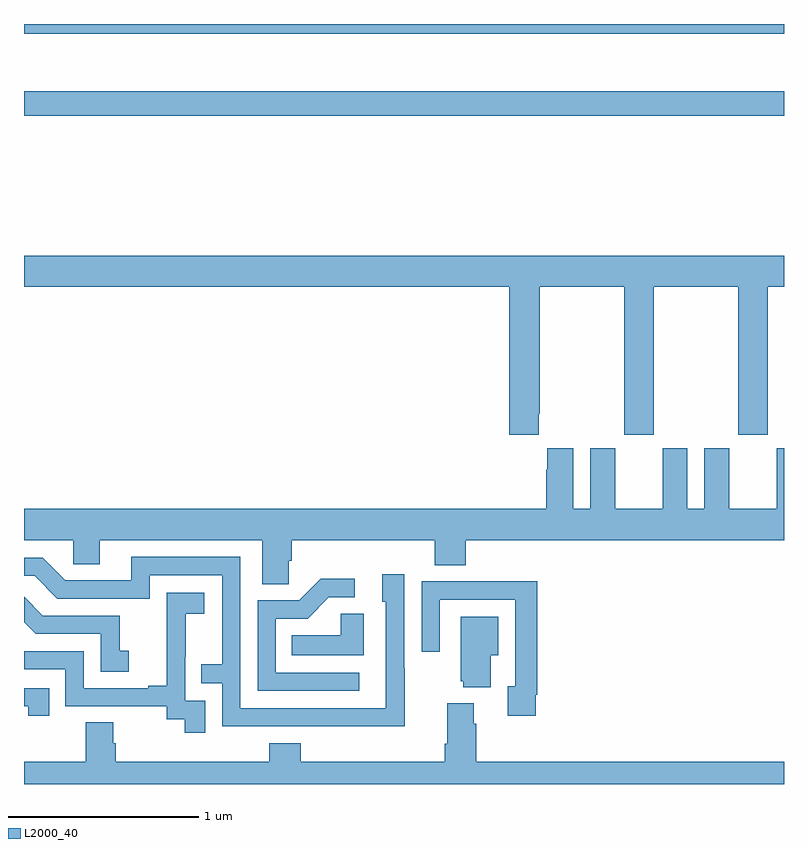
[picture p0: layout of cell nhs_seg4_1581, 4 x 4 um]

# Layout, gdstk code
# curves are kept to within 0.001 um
import gdstk
lib = gdstk.Library(unit=1e-6, precision=1e-09)
def R(c, l, rs):  # rectangles x0, y0, x1, y1
    for r in rs: c.add(gdstk.rectangle(r[:2], r[2:], *l))
def P(c, l, *ps):  # polygons
    for p in ps: c.add(gdstk.Polygon(p, *l))
L2000_40 = (2000, 40)

nhs_seg4_1581 = lib.new_cell('nhs_seg4_1581')
R(nhs_seg4_1581, L2000_40, [(193,768.418,197,768.547), (193,768.848,197,768.9)])
P(nhs_seg4_1581, L2000_40, [(195.709,766.849),(195.714,766.849),(195.714,767.516),(196.159,767.516),(196.159,766.737),(196.314,766.737),(196.314,767.516),(196.759,767.516),(196.759,766.737),(196.914,766.737),(196.914,767.516),(197,767.516),(197,767.68),(193,767.68),(193,767.516),(195.554,767.516),(195.554,766.737),(195.709,766.737)],
  [(193,766.184),(193.26,766.184),(193.26,766.057),(193.399,766.057),(193.399,766.184),(194.255,766.184),(194.255,765.952),(194.394,765.952),(194.394,766.075),(194.408,766.075),(194.408,766.184),(195.161,766.184),(195.161,766.051),(195.326,766.051),(195.326,766.184),(197,766.184),(197,766.666),(196.961,766.666),(196.961,766.348),(196.711,766.348),(196.711,766.666),(196.58,766.666),(196.58,766.348),(196.492,766.348),(196.492,766.666),(196.361,766.666),(196.361,766.348),(196.111,766.348),(196.111,766.666),(195.98,766.666),(195.98,766.348),(195.892,766.348),(195.892,766.666),(195.755,766.666),(195.755,766.553),(195.749,766.553),(195.749,766.348),(193,766.348)],
  [(195.003,765.509),(195,765.509),(195,766.003),(194.885,766.003),(194.885,765.858),(194.904,765.858),(194.904,765.3),(194.139,765.3),(194.139,766.095),(193.565,766.095),(193.565,765.972),(193.218,765.972),(193.098,766.092),(193,766.092),(193,765.996),(193.056,765.996),(193.176,765.876),(193.662,765.876),(193.662,765.999),(194.043,765.999),(194.043,765.53),(193.933,765.53),(193.933,765.429),(194.043,765.429),(194.043,765.204),(195.003,765.203)],
  [(194.764,765.486),(194.325,765.486),(194.325,765.771),(194.494,765.771),(194.605,765.882),(194.74,765.882),(194.74,765.98),(194.561,765.98),(194.448,765.867),(194.229,765.867),(194.229,765.39),(194.764,765.39)],
  [(195.694,765.37),(195.701,765.37),(195.701,765.968),(195.409,765.968),(195.409,765.966),(195.093,765.966),(195.093,765.597),(195.189,765.597),(195.189,765.87),(195.585,765.87),(195.585,765.414),(195.545,765.414),(195.545,765.258),(195.694,765.258)],
  [(193.953,765.339),(193.848,765.339),(193.848,765.569),(193.85,765.569),(193.85,765.797),(193.948,765.797),(193.948,765.907),(193.75,765.907),(193.75,765.701),(193.751,765.701),(193.751,765.418),(193.655,765.418),(193.655,765.405),(193.314,765.405),(193.314,765.6),(193,765.6),(193,765.504),(193.218,765.504),(193.218,765.309),(193.752,765.309),(193.752,765.241),(193.845,765.241),(193.845,765.171),(193.953,765.171)],
  [(193.552,765.601),(193.503,765.601),(193.503,765.786),(193.099,765.786),(193,765.885),(193,765.752),(193.062,765.69),(193.404,765.69),(193.404,765.492),(193.552,765.492)],
  [(194.788,765.797),(194.667,765.797),(194.667,765.682),(194.41,765.682),(194.41,765.578),(194.788,765.578)],
  [(195.457,765.578),(195.496,765.578),(195.496,765.781),(195.299,765.781),(195.299,765.441),(195.311,765.441),(195.311,765.41),(195.457,765.41)],
  [(193.133,765.405),(193,765.405),(193,765.309),(193.022,765.309),(193.022,765.258),(193.133,765.258)],
  [(197,765.016),(195.38,765.016),(195.38,765.218),(195.367,765.218),(195.367,765.325),(195.227,765.325),(195.227,765.112),(195.215,765.112),(195.215,765.016),(194.456,765.016),(194.456,765.115),(194.291,765.115),(194.291,765.016),(193.484,765.016),(193.484,765.114),(193.471,765.114),(193.471,765.224),(193.324,765.224),(193.324,765.016),(193,765.016),(193,764.9),(197,764.9)])

lib.write_gds('nhs_seg4_1581.gds')
